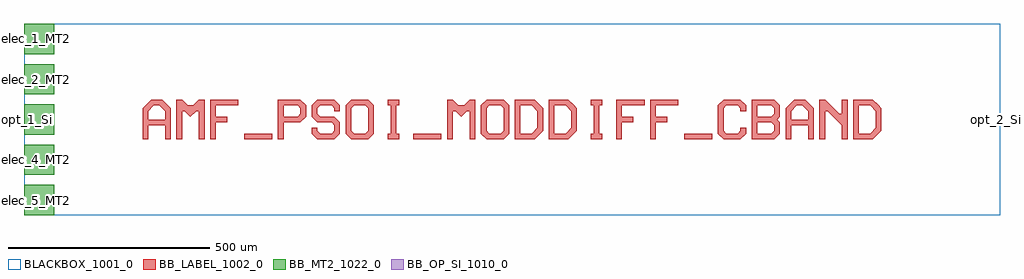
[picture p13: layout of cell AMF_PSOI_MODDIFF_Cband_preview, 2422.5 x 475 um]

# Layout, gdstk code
import gdstk
lib = gdstk.Library(unit=1e-6, precision=1e-09)
def R(c, l, rs):  # rectangles x0, y0, x1, y1
    for r in rs: c.add(gdstk.rectangle(r[:2], r[2:], *l))
def A(c, l, x, y, w, h, nx, ny, dx, dy):  # array of equal rectangles
    R(c, l, [(x+i*dx, y+j*dy, x+i*dx+w, y+j*dy+h) for i in range(nx) for j in range(ny)])
def P(c, l, *ps):  # polygons
    for p in ps: c.add(gdstk.Polygon(p, *l))
BLACKBOX_1001_0 = (1001, 0)
BB_LABEL_1002_0 = (1002, 0)
BB_OP_SI_1010_0 = (1010, 0)
BB_MT2_1022_0 = (1022, 0)

amf_psoi_moddiff_cband_p = lib.new_cell('AMF_PSOI_MODDIFF_Cband_preview')
R(amf_psoi_moddiff_cband_p, BLACKBOX_1001_0, [(0,-237.5,2422.5,237.5)])
R(amf_psoi_moddiff_cband_p, BB_LABEL_1002_0, [(546.25,-49,616.25,-35), (966.25,-49,1036.25,-35), (1638.25,-49,1708.25,-35)])
P(amf_psoi_moddiff_cband_p, BB_LABEL_1002_0, [(294.25,-49),(294.25,28),(315.25,49),(343.25,49),(357.25,35),(322.25,35),(308.25,21),(308.25,0),(350.25,0),(350.25,21),(336.25,35),(357.25,35),(364.25,28),(364.25,-49),(350.25,-49),(350.25,-14),(308.25,-14),(308.25,-49)],
  [(378.25,-49),(378.25,49),(392.25,49),(406.25,35),(420.25,35),(434.25,49),(448.25,49),(448.25,-49),(434.25,-49),(434.25,21),(427.25,21),(413.25,7),(399.25,21),(392.25,21),(392.25,-49)],
  [(462.25,-49),(462.25,49),(532.25,49),(532.25,35),(476.25,35),(476.25,7),(504.25,7),(504.25,-7),(476.25,-7),(476.25,-49)],
  [(630.25,-49),(630.25,49),(686.25,49),(700.25,35),(700.25,7),(686.25,-7),(644.25,-7),(644.25,7),(679.25,7),(686.25,14),(686.25,28),(679.25,35),(644.25,35),(644.25,-49)],
  [(728.25,-49),(714.25,-35),(714.25,-21),(728.25,-21),(728.25,-28),(735.25,-35),(763.25,-35),(770.25,-28),(770.25,-14),(763.25,-7),(728.25,-7),(714.25,7),(714.25,35),(728.25,49),(770.25,49),(784.25,35),(784.25,21),(770.25,21),(770.25,28),(763.25,35),(735.25,35),(728.25,28),(728.25,14),(735.25,7),(770.25,7),(784.25,-7),(784.25,-35),(770.25,-49)],
  [(812.25,-49),(798.25,-35),(798.25,35),(812.25,49),(854.25,49),(868.25,35),(868.25,0),(854.25,0),(854.25,28),(847.25,35),(819.25,35),(812.25,28),(812.25,-28),(819.25,-35),(847.25,-35),(854.25,-28),(854.25,0),(868.25,0),(868.25,-35),(854.25,-49)],
  [(903.25,-49),(903.25,-35),(910.25,-35),(910.25,35),(903.25,35),(903.25,49),(931.25,49),(931.25,35),(924.25,35),(924.25,-35),(931.25,-35),(931.25,-49)],
  [(1050.25,-49),(1050.25,49),(1064.25,49),(1078.25,35),(1092.25,35),(1106.25,49),(1120.25,49),(1120.25,-49),(1106.25,-49),(1106.25,21),(1099.25,21),(1085.25,7),(1071.25,21),(1064.25,21),(1064.25,-49)],
  [(1148.25,-49),(1134.25,-35),(1134.25,35),(1148.25,49),(1190.25,49),(1204.25,35),(1204.25,0),(1190.25,0),(1190.25,28),(1183.25,35),(1155.25,35),(1148.25,28),(1148.25,-28),(1155.25,-35),(1183.25,-35),(1190.25,-28),(1190.25,0),(1204.25,0),(1204.25,-35),(1190.25,-49)],
  [(1218.25,-49),(1218.25,49),(1267.25,49),(1281.25,35),(1232.25,35),(1232.25,-35),(1260.25,-35),(1274.25,-21),(1274.25,21),(1260.25,35),(1281.25,35),(1288.25,28),(1288.25,-28),(1267.25,-49)],
  [(1302.25,-49),(1302.25,49),(1351.25,49),(1365.25,35),(1316.25,35),(1316.25,-35),(1344.25,-35),(1358.25,-21),(1358.25,21),(1344.25,35),(1365.25,35),(1372.25,28),(1372.25,-28),(1351.25,-49)],
  [(1407.25,-49),(1407.25,-35),(1414.25,-35),(1414.25,35),(1407.25,35),(1407.25,49),(1435.25,49),(1435.25,35),(1428.25,35),(1428.25,-35),(1435.25,-35),(1435.25,-49)],
  [(1470.25,-49),(1470.25,49),(1540.25,49),(1540.25,35),(1484.25,35),(1484.25,7),(1512.25,7),(1512.25,-7),(1484.25,-7),(1484.25,-49)],
  [(1554.25,-49),(1554.25,49),(1624.25,49),(1624.25,35),(1568.25,35),(1568.25,7),(1596.25,7),(1596.25,-7),(1568.25,-7),(1568.25,-49)],
  [(1736.25,-49),(1722.25,-35),(1722.25,35),(1736.25,49),(1778.25,49),(1792.25,35),(1792.25,21),(1778.25,21),(1778.25,28),(1771.25,35),(1743.25,35),(1736.25,28),(1736.25,-28),(1743.25,-35),(1771.25,-35),(1778.25,-28),(1778.25,-21),(1792.25,-21),(1792.25,-35),(1778.25,-49)],
  [(1806.25,-49),(1806.25,49),(1862.25,49),(1876.25,35),(1820.25,35),(1820.25,7),(1855.25,7),(1862.25,14),(1862.25,28),(1855.25,35),(1876.25,35),(1876.25,7),(1869.25,0),(1876.25,-7),(1820.25,-7),(1820.25,-35),(1855.25,-35),(1862.25,-28),(1862.25,-14),(1855.25,-7),(1876.25,-7),(1876.25,-35),(1862.25,-49)],
  [(1890.25,-49),(1890.25,28),(1911.25,49),(1939.25,49),(1953.25,35),(1918.25,35),(1904.25,21),(1904.25,0),(1946.25,0),(1946.25,21),(1932.25,35),(1953.25,35),(1960.25,28),(1960.25,-49),(1946.25,-49),(1946.25,-14),(1904.25,-14),(1904.25,-49)],
  [(1974.25,-49),(1974.25,49),(1988.25,49),(2023.25,14),(2030.25,14),(2030.25,49),(2044.25,49),(2044.25,-49),(2030.25,-49),(2030.25,-14),(1995.25,21),(1988.25,21),(1988.25,-49)],
  [(2058.25,-49),(2058.25,49),(2107.25,49),(2121.25,35),(2072.25,35),(2072.25,-35),(2100.25,-35),(2114.25,-21),(2114.25,21),(2100.25,35),(2121.25,35),(2128.25,28),(2128.25,-28),(2107.25,-49)])
R(amf_psoi_moddiff_cband_p, BB_OP_SI_1010_0, [(0,-0.25,0.5,0.25), (2422,-0.25,2422.5,0.25)])
A(amf_psoi_moddiff_cband_p, BB_MT2_1022_0, 0, -237.5, 75, 75, 1, 5, 0, 100)
amf_psoi_moddiff_cband_p.add(gdstk.Label('opt_1_Si', (0,0), layer=1010, texttype=0))
amf_psoi_moddiff_cband_p.add(gdstk.Label('opt_2_Si', (2422.5,0), layer=1010, texttype=0))
amf_psoi_moddiff_cband_p.add(gdstk.Label('elec_1_MT2', (0,200), layer=1022, texttype=0))
amf_psoi_moddiff_cband_p.add(gdstk.Label('elec_2_MT2', (0,100), layer=1022, texttype=0))
amf_psoi_moddiff_cband_p.add(gdstk.Label('elec_4_MT2', (0,-100), layer=1022, texttype=0))
amf_psoi_moddiff_cband_p.add(gdstk.Label('elec_5_MT2', (0,-200), layer=1022, texttype=0))
amf_psoi_moddiff_cband_p.add(gdstk.Label('elec_3_MT2', (0,0), layer=1022, texttype=0))

lib.write_gds('AMF_PSOI_MODDIFF_Cband_preview.gds')
